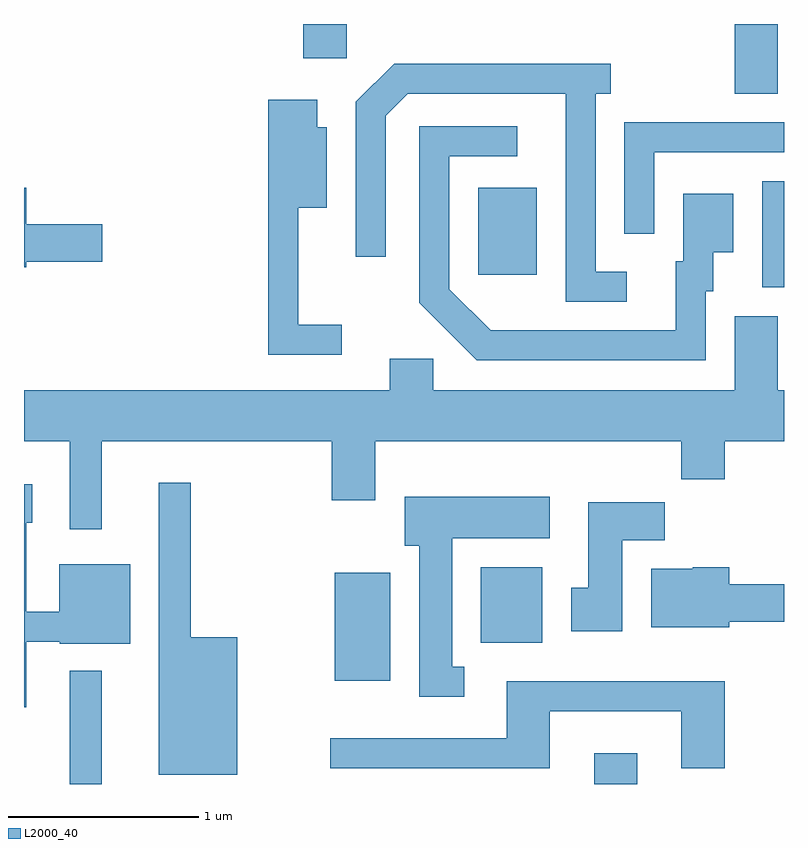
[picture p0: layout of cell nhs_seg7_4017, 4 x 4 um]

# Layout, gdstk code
import gdstk
lib = gdstk.Library(unit=1e-6, precision=1e-09)
def R(c, l, rs):  # rectangles x0, y0, x1, y1
    for r in rs: c.add(gdstk.rectangle(r[:2], r[2:], *l))
def P(c, l, *ps):  # polygons
    for p in ps: c.add(gdstk.Polygon(p, *l))
L2000_40 = (2000, 40)

nhs_seg7_4017 = lib.new_cell('nhs_seg7_4017')
R(nhs_seg7_4017, L2000_40, [(307.851,1750.252,308.019,1750.848), (310.611,1750.252,310.839,1750.414), (309.246,1750.796,309.539,1751.364), (310.016,1750.996,310.339,1751.394), (311.496,1752.866,311.611,1753.424), (310.001,1752.931,310.309,1753.389), (311.351,1753.886,311.579,1754.252), (309.081,1754.071,309.309,1754.252)])
P(nhs_seg7_4017, L2000_40, [(310.783,1752.949),(310.619,1752.949),(310.619,1753.886),(310.698,1753.886),(310.698,1754.044),(309.559,1754.044),(309.356,1753.842),(309.356,1753.028),(309.514,1753.028),(309.514,1753.769),(309.632,1753.886),(310.461,1753.886),(310.461,1752.791),(310.783,1752.791)],
  [(309.283,1752.669),(309.054,1752.669),(309.054,1753.286),(309.204,1753.286),(309.204,1753.709),(309.154,1753.709),(309.154,1753.854),(308.896,1753.854),(308.896,1752.511),(309.283,1752.511)],
  [(310.929,1753.576),(311.611,1753.576),(311.611,1753.734),(310.771,1753.734),(310.771,1753.148),(310.929,1753.148)],
  [(311.199,1752.846),(311.239,1752.846),(311.239,1753.051),(311.344,1753.051),(311.344,1753.359),(311.081,1753.359),(311.081,1753.004),(311.041,1753.004),(311.041,1752.639),(310.067,1752.639),(309.849,1752.857),(309.849,1753.556),(310.208,1753.556),(310.208,1753.714),(309.691,1753.714),(309.691,1752.784),(309.994,1752.481),(311.199,1752.481)],
  [(307.624,1753.001),(308.024,1753.001),(308.024,1753.199),(307.624,1753.199),(307.624,1753.389),(307.611,1753.389),(307.611,1752.971),(307.624,1752.971)],
  [(308.019,1752.056),(309.231,1752.056),(309.231,1751.746),(309.459,1751.746),(309.459,1752.056),(311.071,1752.056),(311.071,1751.856),(311.299,1751.856),(311.299,1752.056),(311.611,1752.056),(311.611,1752.324),(311.579,1752.324),(311.579,1752.714),(311.351,1752.714),(311.351,1752.324),(309.764,1752.324),(309.764,1752.489),(309.536,1752.489),(309.536,1752.324),(307.611,1752.324),(307.611,1752.056),(307.851,1752.056),(307.851,1751.593),(308.019,1751.593)],
  [(308.734,1751.024),(308.489,1751.024),(308.489,1751.838),(308.321,1751.838),(308.321,1750.301),(308.734,1750.301)],
  [(307.624,1751.001),(307.8,1751.001),(307.8,1750.991),(308.169,1750.991),(308.169,1751.409),(307.796,1751.409),(307.796,1751.159),(307.624,1751.159),(307.624,1751.626),(307.654,1751.626),(307.654,1751.829),(307.611,1751.829),(307.611,1750.656),(307.624,1750.656)],
  [(309.928,1750.869),(309.864,1750.869),(309.864,1751.546),(310.379,1751.546),(310.379,1751.764),(309.616,1751.764),(309.616,1751.506),(309.691,1751.506),(309.691,1750.711),(309.928,1750.711)],
  [(310.759,1751.536),(310.984,1751.536),(310.984,1751.734),(310.581,1751.734),(310.581,1751.284),(310.491,1751.284),(310.491,1751.056),(310.759,1751.056)],
  [(311.324,1751.106),(311.611,1751.106),(311.611,1751.304),(311.324,1751.304),(311.324,1751.394),(311.13,1751.394),(311.13,1751.384),(310.911,1751.384),(310.911,1751.076),(311.324,1751.076)],
  [(310.379,1750.636),(311.071,1750.636),(311.071,1750.336),(311.299,1750.336),(311.299,1750.794),(310.151,1750.794),(310.151,1750.494),(309.223,1750.494),(309.223,1750.336),(310.379,1750.336)])

lib.write_gds('nhs_seg7_4017.gds')
